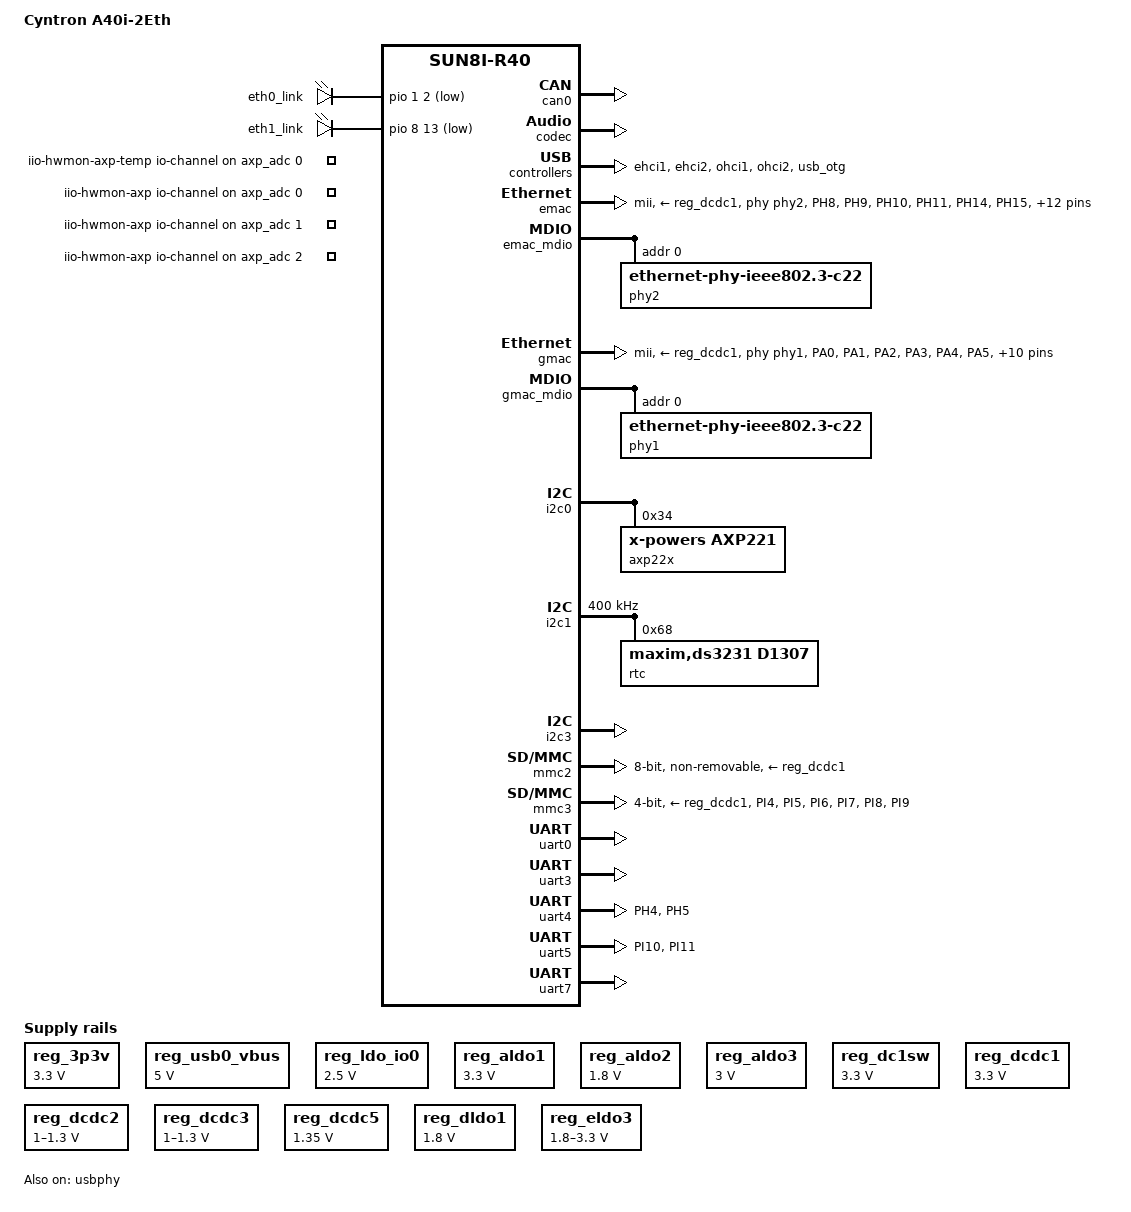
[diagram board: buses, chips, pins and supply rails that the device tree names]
/dts-v1/;

#include "sun8i-r40.dtsi"
#include "sun8i-r40-cpu-opp.dtsi"
#include <dt-bindings/gpio/gpio.h>
#include <dt-bindings/pwm/pwm.h>

#define PIN_PA &pio 0
#define PIN_PB &pio 1
#define PIN_PC &pio 2
#define PIN_PD &pio 3
#define PIN_PE &pio 4
#define PIN_PF &pio 5
#define PIN_PG &pio 6
#define PIN_PH &pio 7
#define PIN_PI &pio 8

/ {
	model = "Cyntron A40i-2Eth";
	compatible = "sk,a40i-nano-2e", "allwinner,sun8i-r40";

	aliases {
		ethernet0 = &emac;
		ethernet1 = &gmac;
		serial0 = &uart0;
		serial1 = &uart1;
		serial2 = &uart2;
		serial3 = &uart3;
		serial4 = &uart4;
		serial5 = &uart5;
		serial6 = &uart6;
		serial7 = &uart7;
		mmc0 = &mmc0;
		mmc1 = &mmc1;		
		mmc2 = &mmc2;
		mmc3 = &mmc3;		
	};

	regulators {
		compatible = "simple-bus";
		#address-cells = <1>;
		#size-cells = <0>;

        reg_3p3v: regulator@0 {
            compatible = "regulator-fixed";
            regulator-name = "3P3V";
            regulator-min-microvolt = <3300000>;
            regulator-max-microvolt = <3300000>;
            regulator-always-on;
        };

		reg_usb0_vbus: regulator@1 {
			reg = <1>;
			compatible = "regulator-fixed";
			regulator-name = "usb0_vbus";
			regulator-min-microvolt = <5000000>;
			regulator-max-microvolt = <5000000>;
/*
			gpio = <PIN_PE 0 GPIO_ACTIVE_HIGH>;
			enable-active-high;
*/
		};
	};
	leds {
		compatible = "gpio-leds";
		eth0_link {
			gpios = <&pio 1 2 GPIO_ACTIVE_LOW>;
			default-state = "off";
			linux,default-trigger = "1c0b080.mdio-mii:00:link";
		};
		eth1_link {
			gpios = <&pio 8 13 GPIO_ACTIVE_LOW>;
			default-state = "off";
			linux,default-trigger = "stmmac-1:00:link";
		};
	};
	iio-hwmon-axp-temp {
		compatible = "iio-hwmon";
		io-channels = <&axp_adc 0>;
	};

	iio-hwmon-axp {
		compatible = "iio-hwmon";
		io-channels = <&axp_adc 0>, <&axp_adc 1>, <&axp_adc 2>;
	};
};

&can0 {
	pinctrl-0 = <&can_pa_pins>;
	pinctrl-names = "default";
	status = "okay";
};

&codec {
	allwinner,audio-routing =
		"Headphone", "HP",
		"LINEIN", "Line In";
	status = "okay";
};

&cpu0 {
	cpu-supply = <&reg_dcdc2>;
};

&ehci1 {
	status = "okay";
};

&ehci2 {
	status = "okay";
};

&ohci1 {
	status = "okay";
};

&ohci2 {
	status = "okay";
};

&usb_otg {
	status = "okay";
};

&usbphy {
    usb0_vbus-supply = <&reg_usb0_vbus>;
	usb1_vbus-supply = <&reg_usb0_vbus>;
	usb2_vbus-supply = <&reg_usb0_vbus>;
	status = "okay";
};

&emac {
	pinctrl-names = "default";
	pinctrl-0 = <&emac_ph_pins>;
	phy-handle = <&phy2>;
	phy-mode = "mii";
	phy-supply = <&reg_dcdc1>;
/*
	nvmem-cells = <&eth1_mac_address>;
	nvmem-cell-names = "mac-address";
*/
	status = "okay";
};

&emac_mdio {
	status = "okay";
	phy2: ethernet-phy@0 {
		compatible = "ethernet-phy-ieee802.3-c22";
		reg = <0>;

		reset-gpios = <PIN_PH 12 GPIO_ACTIVE_LOW>;
		reset-assert-us = <10000>;
		reset-deassert-us = <100000>;

		icplus,select-rx-error;
		status = "okay";
	};
};

&gmac {
	pinctrl-names = "default";
	pinctrl-0 = <&gmac_mii_pins_reduced>;
	phy-handle = <&phy1>;
	phy-mode = "mii";
	phy-supply = <&reg_dcdc1>;
/*
	To make it work make sure local-mac-address property is not set by U-Boot
	nvmem-cells = <&eth0_mac_address>;
	nvmem-cell-names = "mac-address";
*/
	status = "okay";
};

&gmac_mdio {
	phy1: ethernet-phy@0 {
		compatible = "ethernet-phy-ieee802.3-c22";
		reg = <0>;

		reset-gpios = <PIN_PH 13 GPIO_ACTIVE_LOW>;
		reset-assert-us = <10000>;
		reset-deassert-us = <100000>;

		icplus,select-rx-error;
		status = "okay";
	};
};

&i2c0 {
	status = "okay";

	axp22x: pmic@34 {
		compatible = "x-powers,axp221";
		reg = <0x34>;
		interrupt-parent = <&nmi_intc>;
		interrupts = <0 IRQ_TYPE_LEVEL_LOW>;
	};
};

&i2c1 {
    status = "okay";
    clock-frequency = <400000>;

    rtc: rtc@68 {
        compatible = "maxim,ds3231,d1307";
        reg = <0x68>;
    };
};

&i2c3 {
	status = "okay";
};

&mmc2 {
	vmmc-supply = <&reg_dcdc1>;
	vqmmc-supply = <&reg_aldo2>;
	bus-width = <8>;
	non-removable;
	cap-mmc-hw-reset;
	mmc-hs200-1_8v;
	status = "okay";
};

&mmc3 {
	pinctrl-names = "default";
	pinctrl-0 = <&mmc3_pins>;
	bus-width = <4>;
	//cd-gpios = <PIN_PI 13 GPIO_ACTIVE_LOW>;
	status = "okay";
	vmmc-supply = <&reg_dcdc1>;
	vqmmc-supply = <&reg_dcdc1>;
	no-1-8-v;
};

&pio {
	vcc-pa-supply = <&reg_dcdc1>; //ok
//	vcc-pb-supply = <&reg_dcdc1>; /* VCC-IO */
	vcc-pc-supply = <&reg_aldo2>; /* eMMC, SoM wi-fi gpios*/
	vcc-pd-supply = <&reg_dcdc1>; //ok
	vcc-pe-supply = <&reg_eldo3>; //ok
	vcc-pf-supply = <&reg_dcdc1>; //ok
	vcc-pg-supply = <&reg_dcdc1>; // microSD 3v3!!
	vcc-ph-supply = <&reg_dcdc1>; // VCC-IO
	vcc-pi-supply = <&reg_dcdc1>;// VCC-IO

	emac_ph_pins: emac-ph-pins {
		pins = "PH8", "PH9", "PH10", "PH11",
		       "PH14", "PH15", "PH16", "PH17",
		       "PH18","PH19", "PH20", "PH21",
		       "PH22", "PH23", "PH24", "PH25",
			   "PH26", "PH27";
		drive-strength = <40>;
		function = "emac";
	};

    /* w/o ECOL and ETXERR */
    gmac_mii_pins_reduced: gmac-mii-pins-reduced {
		pins = "PA0", "PA1", "PA2", "PA3",
			"PA4", "PA5", "PA6", "PA7",
			"PA8", "PA9", "PA10", "PA11", "PA12",
			"PA13", "PA14", "PA15";
		drive-strength = <40>;
		function = "gmac";
	};

	mmc3_pins: mmc3-pins {
		pins = "PI4", "PI5", "PI6",
		       "PI7", "PI8", "PI9";
		function = "mmc3";
		drive-strength = <30>;
		bias-pull-up;
	};
/*
	pwm_ch0_pb_pins: pwm-ch0-pb-pins {
		pins = "PB2";
		function = "pwm";
	};
*/
	uart4_ph_pins: uart4-ph-pins {
		pins = "PH4", "PH5";
		function = "uart4";
	};

	uart5_pi_pins: uart5-pi-pins {
		pins = "PI10", "PI11";
		function = "uart5";
	};
};

#include "axp22x.dtsi"

&reg_ldo_io0 {
  regulator-min-microvolt = <2500000>;
  regulator-max-microvolt = <2500000>;
  regulator-name = "vdd2v5-sata";
  status = "okay";
};

/* ALDO1: 0.7V~3.3V, 300 mA, default: OFF */
/* CPU: VCC-TVIN, VCC-TVOUT */
&reg_aldo1 {
	regulator-min-microvolt = <3300000>;
	regulator-max-microvolt = <3300000>;
	regulator-name = "tvd";
};

/* ALDO2: 0.7V~3.3V, 300mA, default: 1.8V */
/* eMMC VDDQ (optional), VCC-PC*/
&reg_aldo2 {
	regulator-always-on;
	regulator-min-microvolt = <1800000>;
	regulator-max-microvolt = <1800000>;
	regulator-name = "aldo2";
};

/* ALDO3: 0.7V~3.3V, 200 mA, default: 3.0 V */
/* VCC-PLL и AVCC */
&reg_aldo3 {
	regulator-always-on;
	regulator-min-microvolt = <3000000>;
	regulator-max-microvolt = <3000000>;
	regulator-init-microvolt = <3000000>;
	regulator-name = "avcc-pll";
};

/* DC1SW Switch, 400 mA, 100mOhm, default: OFF */
&reg_dc1sw {
	regulator-min-microvolt = <3300000>;
	regulator-max-microvolt = <3300000>;
	regulator-name = "vcc-gmac-phy";
};

/* DCDC1: 1.6V~3.4V, 1400 mA, default: 3.3V
   VCC-IO процессора
   ref: eFUSE, microSD, PD, PA, DSI, HDMI, HP
   eMMC, eth phy
   3.3V для периферии на основной плате WB
*/
&reg_dcdc1 {
	regulator-always-on;
	regulator-min-microvolt = <3300000>;
	regulator-max-microvolt = <3300000>;
	regulator-name = "vcc-3v3";
};

/* DCDC2: 0.6V~1.54V, 2500 mA, default: 1.1 V */
/* CPU core vdd-cpu */
&reg_dcdc2 {
	regulator-always-on;
	regulator-min-microvolt = <1000000>;
	regulator-max-microvolt = <1300000>;
	regulator-name = "vdd-cpu";
};

/* CPU vdd-sys */
/* DCDC3: 0.6V~1.86V, 2500 mA, default: 1.1 V */
&reg_dcdc3 {
	regulator-always-on;
	regulator-min-microvolt = <1000000>;
	regulator-max-microvolt = <1300000>;
	regulator-name = "vdd-sys";
};

/* DCDC4: 0.6V~1.54V, 600mA, default: 1.1 V */
/* unused */

/* DCDC5: 1.0V~2.55V, 2000 mA, default: 1.5/DC5SET V */
/* DRAM */
&reg_dcdc5 {
	regulator-always-on;
	regulator-min-microvolt = <1350000>;
	regulator-max-microvolt = <1350000>;
	regulator-name = "vcc-dram";
};

/* DLDO1: 0.7V~3.3V, 400 mA, default: OFF */
/* in: 5V/4V (PS).
   microSD reference voltage (internal)
*/
&reg_dldo1 {
	regulator-min-microvolt = <1800000>;
	regulator-max-microvolt = <1800000>;
	regulator-name = "vcc-sd-alt";
	regulator-always-on;
};

/* ELDO3: 0.7V~3.3V, 200 mA, default: OFF */
/* ref. VCC-PE */
&reg_eldo3 {
	regulator-min-microvolt = <1800000>;
	regulator-max-microvolt = <3300000>;
	regulator-init-microvolt = <3300000>;
	regulator-always-on;
	regulator-name = "vcc-pe";
};

/* Unused: */
	/* DLDO2: 0.7V~3.3V, 200 mA, default: OFF */
	/* DLDO3: 0.7V~3.3V, 200 mA, default: OFF */
	/* DLDO4: 0.7V~3.3V, 100 mA, default: OFF */
	/* ELDO1: 0.7V~3.3V, 400 mA, default: OFF */
	/* ELDO2: 0.7V~3.3V, 200 mA, default: OFF */

/* DC5LDO: 0.7V~1.4V, 200 mA, default: 1.1V */

&uart0 {
	pinctrl-names = "default";
	pinctrl-0 = <&uart0_pb_pins>;
	status = "okay";
};

&uart3 {
	pinctrl-names = "default";
	pinctrl-0 = <&uart3_pg_pins>;
	status = "okay";
};

&uart4 {
	pinctrl-names = "default";
	pinctrl-0 = <&uart4_ph_pins>;
	//rts-gpios = <PIN_PI 12 GPIO_ACTIVE_HIGH>;
	//linux,rs485-enabled-at-boot-time;
	status = "okay";
};

&uart5 {
	pinctrl-names = "default";
	pinctrl-0 = <&uart5_pi_pins>;
	status = "okay";
};

&uart7 {
	pinctrl-names = "default";
	pinctrl-0 = <&uart7_pi_pins>;
	status = "okay";
};

&rtc {
	status = "okay";
};
/*
&pwm {
	pinctrl-0 = <&pwm_ch0_pb_pins>;
	pinctrl-names = "default";
	status = "okay";
};
*/
/*
&gpadc {
	status = "okay";
};
*/
